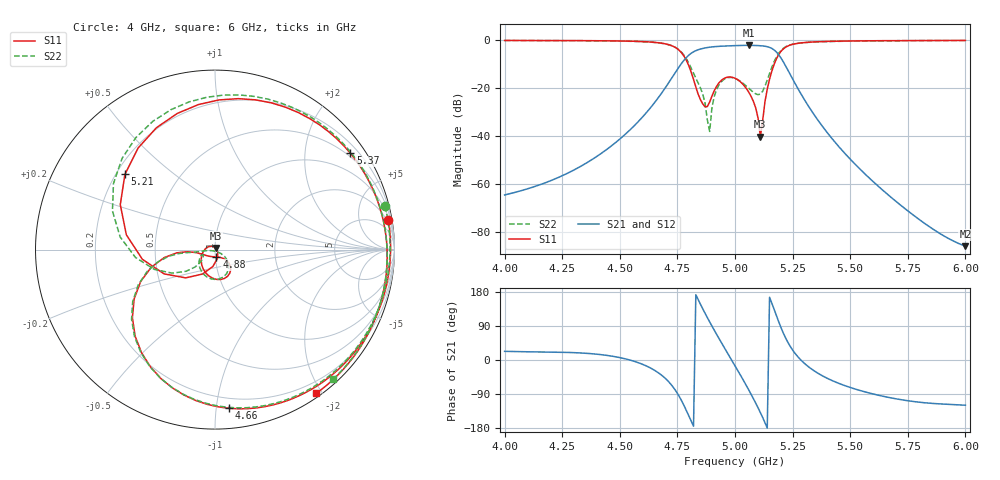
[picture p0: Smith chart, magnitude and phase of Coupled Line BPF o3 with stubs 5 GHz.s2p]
! Sonnet Data File
! From: sonnet Version : 18.53-Lite
! From Emgraph Data:
! Data File Written: 03/29/2024 15:56:34
!< HDATE 03/29/2024 15:54:20
!< MDATE 03/29/2024 15:54:20
!< PARAMS
!< L0 = 1.7
!< W1 = 0.9
!< L1 = 8.85
!< Lstub = 8.0
!< Wstub = 0.7
!< L2 = 8.68
!< W2 = 1.35
!< END PARAMS
# GHZ S MA R 50.00000
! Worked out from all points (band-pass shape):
!   201 points, 4 GHz to 6 GHz, reference 50 ohm
!   highest |S21| = -2.22 dB at 5.06 GHz (marker M1); lowest = -85.9 dB at 6 GHz (marker M2)
!   |S21| within 3 dB of the highest: 4.815 GHz to 5.182 GHz (366.9 MHz wide, 7.34 % of centre)
!   lowest |S11| = -40.3 dB at 5.11 GHz (marker M3), VSWR 1.02, Z = 50.4 + j0.899 ohm
!   |S11| at or under -10 dB: 4.796 GHz to 5.17 GHz (374.2 MHz wide, 7.51 % of centre)
!   |S22| runs from -38.1 to -0.2 dB; largest |S21 - S12| = 2e-13
!   S11 on the Smith chart (normalised r, x): 4 GHz: 1, +12; 4.66 GHz: 0.13, -1.08; 4.88 GHz: 1.01, -0.08; 5.21 GHz: 0.24, +0.35; 5.37 GHz: 0.41, +3.08; 6 GHz: 0.05, -1.93
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4  0.9796 9.7  0.0005903 22.9  0.0005903 22.9  0.9776 14.4
4.34  0.9715 -23.6  0.002481 18.3  0.002481 18.3  0.9681 -21.1
4.66  0.8873 -85.1  0.05656 -30.7  0.05656 -30.7  0.8812 -85.5
4.67  0.8762 -88.8  0.06562 -34.8  0.06562 -34.8  0.8703 -89.3
4.79  0.3684 -164.5  0.4381 -134.7  0.4381 -134.7  0.3976 -162.1
4.83  0.105 -170.6  0.6003 172.2  0.6003 172.2  0.1612 -173.9
4.88  0.04107 -78.5  0.6979 111.8  0.6979 111.8  0.02153 -165.2
4.89  0.051 -57.5  0.7094 100.5  0.7094 100.5  0.01243 -56.7
4.9  0.06798 -46.6  0.719 89.5  0.719 89.5  0.0392 -33.4
4.93  0.1273 -47.6  0.7389 57.2  0.7389 57.2  0.1154 -48.5
5  0.16 -94.9  0.7647 -15.1  0.7647 -15.1  0.159 -106.3
5.06  0.08147 -155.8  0.7747 -79.3  0.7747 -79.3  0.09806 -150.3
5.11  0.009654 67.6  0.7608 -138.5  0.7608 -138.5  0.07476 -150.4
5.15  0.1531 -117.2  0.7021 165.6  0.7021 165.6  0.2015 -143.1
5.18  0.4079 -172.3  0.5608 116.8  0.5608 116.8  0.4455 -174.4
5.21  0.654 140.1  0.3492 70.6  0.3492 70.6  0.6747 147.0
5.26  0.8342 88.4  0.1262 18.1  0.1262 18.1  0.8356 99.9
5.34  0.9126 45.9  0.02935 -27.2  0.02935 -27.2  0.906 57.9
5.37  0.9259 35.5  0.01832 -38.6  0.01832 -38.6  0.9187 47.2
5.67  0.9702 -20.7  0.0005648 -99.1  0.0005648 -99.1  0.9651 -12.0
5.88  0.9777 -43.6  9.887e-05 -115.5  9.887e-05 -115.5  0.9738 -36.0
6  0.9797 -54.7  5.059e-05 -119.3  5.059e-05 -119.3  0.9764 -47.6
